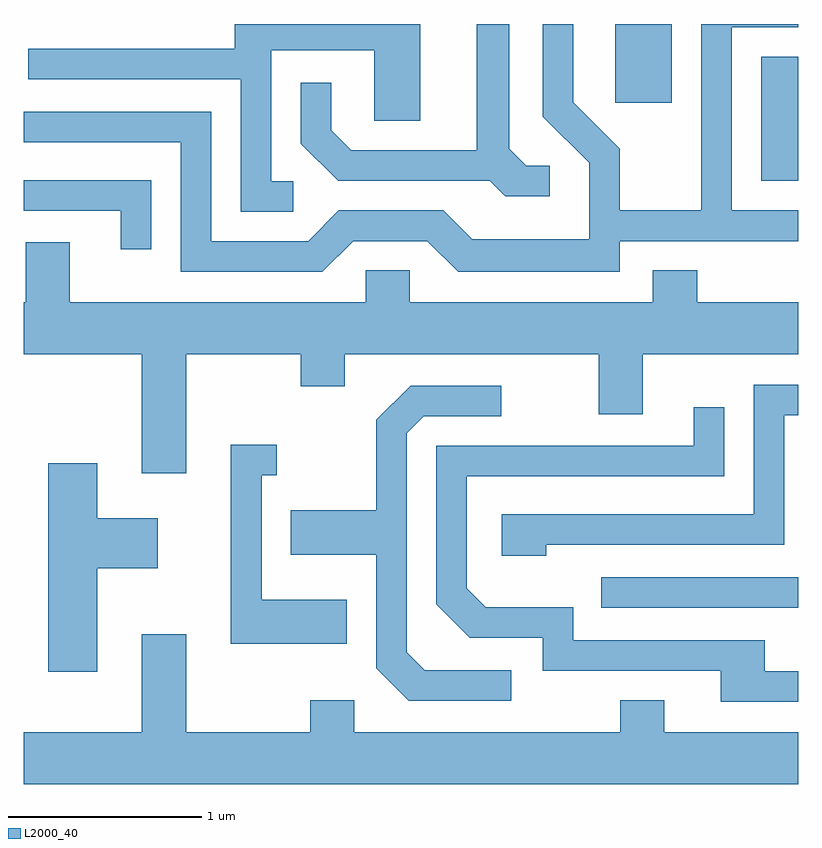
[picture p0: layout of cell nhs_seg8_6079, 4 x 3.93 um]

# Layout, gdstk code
import gdstk
lib = gdstk.Library(unit=1e-6, precision=1e-09)
def R(c, l, rs):  # rectangles x0, y0, x1, y1
    for r in rs: c.add(gdstk.rectangle(r[:2], r[2:], *l))
def P(c, l, *ps):  # polygons
    for p in ps: c.add(gdstk.Polygon(p, *l))
L2000_40 = (2000, 40)

nhs_seg8_6079 = lib.new_cell('nhs_seg8_6079')
R(nhs_seg8_6079, L2000_40, [(370.593,1837.326,371.611,1837.484), (371.421,1839.531,371.611,1840.174), (370.666,1839.936,370.959,1840.342)])
P(nhs_seg8_6079, L2000_40, [(369.003,1839.529),(368.889,1839.529),(368.889,1840.206),(369.421,1840.206),(369.421,1839.841),(369.659,1839.841),(369.659,1840.342),(368.701,1840.342),(368.701,1840.214),(367.633,1840.214),(367.633,1840.056),(368.731,1840.056),(368.731,1839.371),(369.003,1839.371)],
  [(370.328,1839.609),(370.207,1839.609),(370.119,1839.697),(370.119,1840.342),(369.951,1840.342),(369.951,1839.689),(369.302,1839.689),(369.199,1839.792),(369.199,1840.038),(369.041,1840.038),(369.041,1839.724),(369.234,1839.531),(370.019,1839.531),(370.099,1839.451),(370.328,1839.451)],
  [(369.312,1839.221),(369.694,1839.221),(369.854,1839.061),(370.689,1839.061),(370.689,1839.221),(371.611,1839.221),(371.611,1839.379),(371.269,1839.379),(371.269,1840.326),(371.611,1840.326),(371.611,1840.342),(371.111,1840.342),(371.111,1839.379),(370.689,1839.379),(370.689,1839.697),(370.449,1839.937),(370.449,1840.342),(370.291,1840.342),(370.291,1839.864),(370.531,1839.624),(370.531,1839.229),(369.927,1839.229),(369.777,1839.379),(369.239,1839.379),(369.079,1839.219),(368.579,1839.219),(368.579,1839.889),(367.611,1839.889),(367.611,1839.731),(368.421,1839.731),(368.421,1839.061),(369.152,1839.061)],
  [(368.269,1839.534),(367.611,1839.534),(367.611,1839.376),(368.111,1839.376),(368.111,1839.178),(368.269,1839.178)],
  [(368.449,1838.636),(369.041,1838.636),(369.041,1838.471),(369.269,1838.471),(369.269,1838.636),(370.581,1838.636),(370.581,1838.326),(370.809,1838.326),(370.809,1838.636),(371.611,1838.636),(371.611,1838.904),(371.089,1838.904),(371.089,1839.069),(370.861,1839.069),(370.861,1838.904),(369.604,1838.904),(369.604,1839.069),(369.376,1839.069),(369.376,1838.904),(367.849,1838.904),(367.849,1839.214),(367.621,1839.214),(367.621,1838.904),(367.611,1838.904),(367.611,1838.636),(368.221,1838.636),(368.221,1838.021),(368.449,1838.021)],
  [(370.309,1837.651),(371.539,1837.651),(371.539,1838.321),(371.611,1838.321),(371.611,1838.479),(371.381,1838.479),(371.381,1837.809),(370.081,1837.809),(370.081,1837.596),(370.309,1837.596)],
  [(370.128,1837.004),(369.682,1837.004),(369.589,1837.097),(369.589,1838.229),(369.677,1838.316),(370.078,1838.316),(370.078,1838.474),(369.609,1838.474),(369.431,1838.297),(369.431,1837.829),(368.991,1837.829),(368.991,1837.601),(369.431,1837.601),(369.431,1837.014),(369.599,1836.846),(370.128,1836.846)],
  [(371.611,1836.999),(371.439,1836.999),(371.439,1837.159),(370.449,1837.159),(370.449,1837.329),(369.997,1837.329),(369.899,1837.427),(369.899,1838.006),(371.229,1838.006),(371.229,1838.363),(371.071,1838.363),(371.071,1838.164),(369.741,1838.164),(369.741,1837.344),(369.914,1837.171),(370.291,1837.171),(370.291,1837.001),(371.211,1837.001),(371.211,1836.841),(371.611,1836.841)],
  [(369.279,1837.369),(368.839,1837.369),(368.839,1838.011),(368.918,1838.011),(368.918,1838.169),(368.681,1838.169),(368.681,1837.141),(369.279,1837.141)],
  [(367.989,1837.531),(368.304,1837.531),(368.304,1837.789),(367.989,1837.789),(367.989,1838.074),(367.736,1838.074),(367.736,1836.996),(367.989,1836.996)],
  [(371.611,1836.684),(370.919,1836.684),(370.919,1836.849),(370.691,1836.849),(370.691,1836.684),(369.319,1836.684),(369.319,1836.849),(369.091,1836.849),(369.091,1836.684),(368.449,1836.684),(368.449,1837.189),(368.221,1837.189),(368.221,1836.684),(367.611,1836.684),(367.611,1836.416),(371.611,1836.416)])

lib.write_gds('nhs_seg8_6079.gds')
